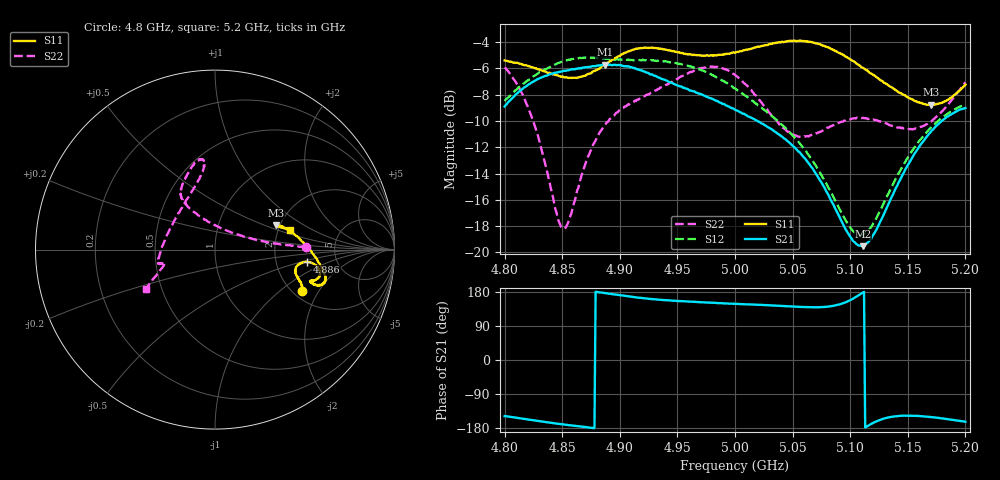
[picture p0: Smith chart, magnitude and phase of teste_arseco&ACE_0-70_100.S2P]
! Network Analyzer HP8722D
! Hewlett-Packard
! Data name: Linha & Wilkinson
! Saver's name: Rodrigo Anjos
! Comments: Teste da utilização de aquisição
! continua pelo VNA HP8722D
! Time and date: 8/5/2025 13:35
!  Frequency  S11  S21  S12  S22
# HZ  S  MA R 50
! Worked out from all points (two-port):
!   401 points, 4.8 GHz to 5.2 GHz, reference 50 ohm
!   highest |S21| = -5.71 dB at 4.887 GHz (marker M1); lowest = -19.5 dB at 5.111 GHz (marker M2)
!   |S21| within 3 dB of the highest: 4.802 GHz to 4.99 GHz (188.6 MHz wide, 3.85 % of centre)
!   lowest |S11| = -8.8 dB at 5.17 GHz (marker M3), VSWR 2.15, Z = 95.1 + j29.7 ohm
!   |S11| at or under -10 dB: nowhere
!   |S22| runs from -18.2 to -5.8 dB; largest |S21 - S12| = 1.1
!   S11 on the Smith chart (normalised r, x): 4.8 GHz: 2.23, -1.45; 4.886 GHz: 3.01, -0.56; 5.2 GHz: 2.33, +0.63
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4.8e9  0.5375 -25.6  0.3589 -148.1  0.3771 11.1  0.5057 1.6
4.814e9  0.5219 -22.2  0.414 -153.8  0.431 9.2  0.4108 3.4
4.824e9  0.5066 -20.5  0.4441 -158.5  0.4638 7.8  0.3226 6.3
4.849e9  0.4664 -16.3  0.488 -169.3  0.5302 3.9  0.1252 56.3
4.855e9  0.4619 -14.5  0.4932 -171.7  0.54 3.1  0.1295 83.7
4.867e9  0.4665 -11.0  0.5017 -175.8  0.549 1.4  0.1977 113.0
4.886e9  0.5155 -7.6  0.5165 177.2  0.5482 -0.2  0.3002 123.1
4.887e9  0.5181 -7.6  0.5181 176.7  0.5467 -0.2  0.306 122.4
4.912e9  0.5903 -10.7  0.5028 166.1  0.5385 0.1  0.3736 120.3
4.934e9  0.596 -15.2  0.4622 159.2  0.5365 -0.8  0.4188 114.4
4.976e9  0.5625 -18.4  0.3901 151.8  0.4833 -4.5  0.5074 99.9
5e9  0.5749 -19.1  0.3492 148.3  0.4205 -4.8  0.4744 97.6
5.017e9  0.6016 -19.2  0.3207 146.1  0.3716 -2.3  0.3985 103.1
5.044e9  0.6346 -17.3  0.2692 142.0  0.2968 3.4  0.2926 131.1
5.067e9  0.6299 -13.3  0.2099 139.1  0.2248 9.7  0.2803 164.5
5.099e9  0.5468 -2.6  0.1165 156.2  0.1265 37.8  0.3197 -169.8
5.111e9  0.5043 3.1  0.1057 178.0  0.1165 61.4  0.3251 -166.4
5.12e9  0.4735 7.6  0.1167 -165.9  0.1292 78.8  0.3202 -165.8
5.134e9  0.4296 14.0  0.1555 -151.0  0.1703 94.7  0.3052 -165.3
5.154e9  0.382 20.6  0.2303 -147.0  0.2448 102.2  0.2939 -164.2
5.17e9  0.3646 21.8  0.2875 -150.5  0.298 103.3  0.3143 -160.7
5.2e9  0.4345 14.7  0.3542 -162.9  0.3664 103.6  0.4442 -150.2
